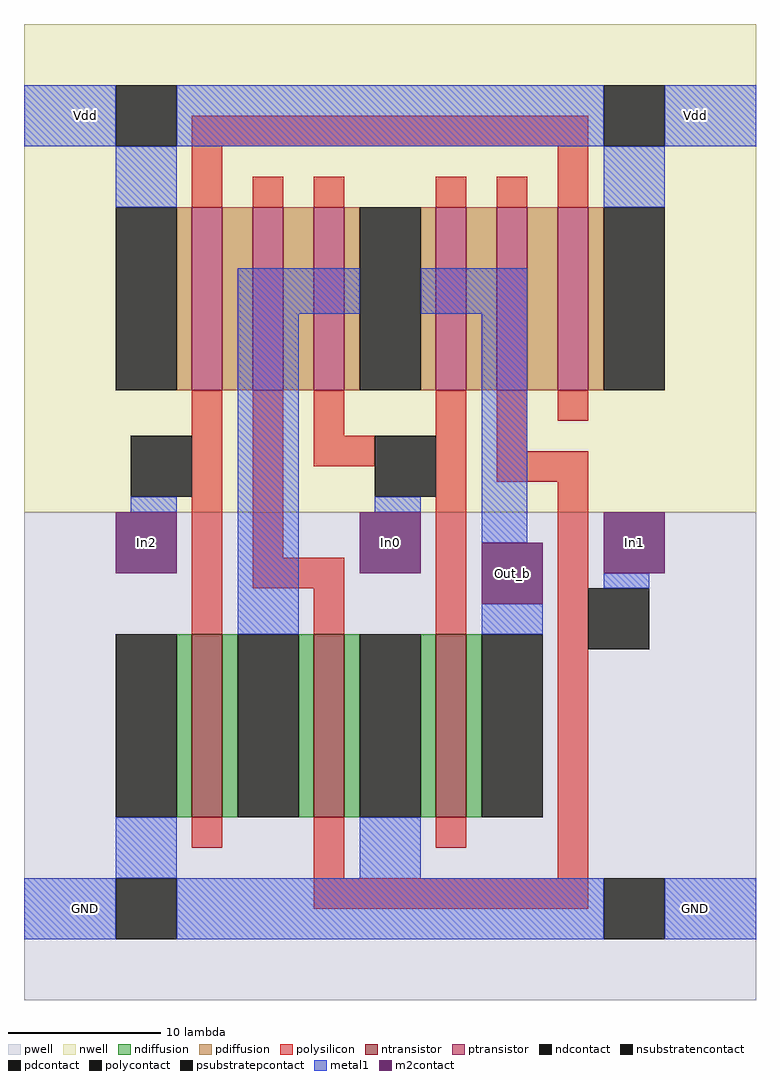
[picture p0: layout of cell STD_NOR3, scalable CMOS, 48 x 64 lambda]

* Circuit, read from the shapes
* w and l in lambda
.subckt STD_NOR3 GND In0 In1 In2 Out_b Vdd
M1 Out_b In2 GND GND nfet w=12 l=2
M2 GND In1 Out_b GND nfet w=12 l=2
M3 Out_b In0 GND GND nfet w=12 l=2
M4 n1 In2 Vdd Vdd pfet w=12 l=2
M5 n2 In1 n1 Vdd pfet w=12 l=2
M6 Out_b In0 n2 Vdd pfet w=12 l=2
M7 n3 In0 Out_b Vdd pfet w=12 l=2
M8 n4 In1 n3 Vdd pfet w=12 l=2
M9 Vdd In2 n4 Vdd pfet w=12 l=2
.ends

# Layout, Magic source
magic
tech scmos
<< pwell >>
rect 0 0 48 32
<< nwell >>
rect 0 32 48 64
<< polysilicon >>
rect 11 56 37 58
rect 11 52 13 56
rect 15 52 17 54
rect 19 52 21 54
rect 27 52 29 54
rect 31 52 33 54
rect 35 52 37 56
rect 11 24 13 40
rect 15 29 17 40
rect 19 37 21 40
rect 19 35 23 37
rect 15 27 21 29
rect 19 24 21 27
rect 27 24 29 40
rect 31 36 33 40
rect 35 38 37 40
rect 31 34 37 36
rect 11 10 13 12
rect 19 8 21 12
rect 27 10 29 12
rect 35 8 37 34
rect 19 6 37 8
<< ndiffusion >>
rect 10 12 11 24
rect 13 12 14 24
rect 18 12 19 24
rect 21 12 22 24
rect 26 12 27 24
rect 29 12 30 24
<< pdiffusion >>
rect 10 40 11 52
rect 13 40 15 52
rect 17 40 19 52
rect 21 40 22 52
rect 26 40 27 52
rect 29 40 31 52
rect 33 40 35 52
rect 37 40 38 52
<< metal1 >>
rect 0 56 6 60
rect 10 56 38 60
rect 42 56 48 60
rect 6 52 10 56
rect 38 52 42 56
rect 14 45 22 48
rect 7 32 10 33
rect 14 24 18 45
rect 26 45 33 48
rect 23 32 26 33
rect 30 30 33 45
rect 38 27 41 28
rect 30 24 34 26
rect 6 8 10 12
rect 22 8 26 12
rect 0 4 6 8
rect 10 4 38 8
rect 42 4 48 8
<< ntransistor >>
rect 11 12 13 24
rect 19 12 21 24
rect 27 12 29 24
<< ptransistor >>
rect 11 40 13 52
rect 15 40 17 52
rect 19 40 21 52
rect 27 40 29 52
rect 31 40 33 52
rect 35 40 37 52
<< polycontact >>
rect 7 33 11 37
rect 23 33 27 37
rect 37 23 41 27
<< ndcontact >>
rect 6 12 10 24
rect 14 12 18 24
rect 22 12 26 24
rect 30 12 34 24
<< pdcontact >>
rect 6 40 10 52
rect 22 40 26 52
rect 38 40 42 52
<< m2contact >>
rect 6 28 10 32
rect 22 28 26 32
rect 30 26 34 30
rect 38 28 42 32
<< psubstratepcontact >>
rect 6 4 10 8
rect 38 4 42 8
<< nsubstratencontact >>
rect 6 56 10 60
rect 38 56 42 60
<< labels >>
rlabel m2contact 32 28 32 28 6 Out_b
rlabel m2contact 24 30 24 30 6 In0
rlabel m2contact 8 30 8 30 6 In2
rlabel m2contact 40 30 40 30 6 In1
rlabel metal1 4 6 4 6 6 GND
rlabel metal1 44 6 44 6 6 GND
rlabel metal1 4 58 4 58 6 Vdd
rlabel metal1 44 58 44 58 6 Vdd
<< end >>
